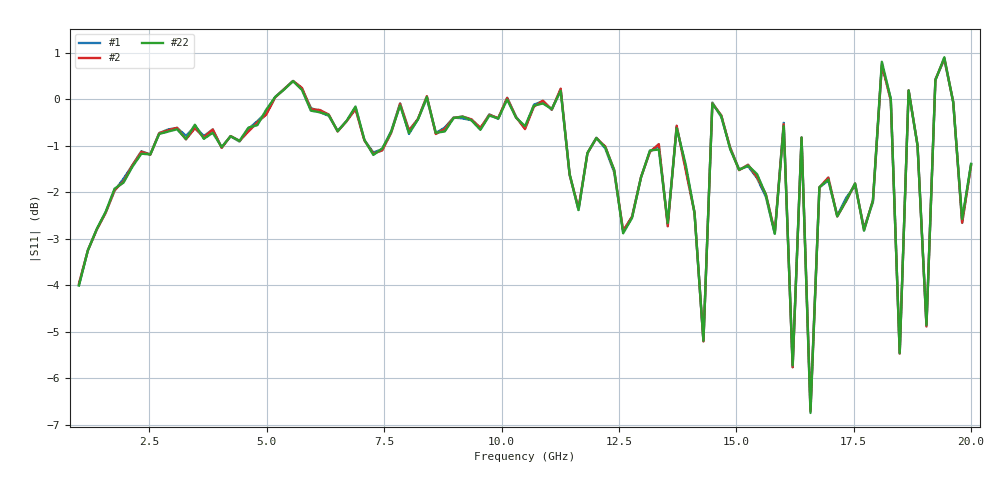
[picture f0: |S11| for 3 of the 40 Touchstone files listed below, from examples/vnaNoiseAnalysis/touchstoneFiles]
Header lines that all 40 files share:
# GHz S RI R 50
!freq	ReS11	ImS11
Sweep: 1 GHz to 20 GHz
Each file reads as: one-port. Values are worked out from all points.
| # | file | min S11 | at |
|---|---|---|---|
| 1 | 2010-12-01 15-48-28.489000.s1p | -6.6 dB | 16.58 GHz |
| 2 | 2010-12-01 15-48-30.132000.s1p | -6.7 dB | 16.58 GHz |
| 3 | 2010-12-01 15-48-31.804000.s1p | -6.6 dB | 16.58 GHz |
| 4 | 2010-12-01 15-48-33.467000.s1p | -6.7 dB | 16.58 GHz |
| 5 | 2010-12-01 15-48-35.099000.s1p | -6.7 dB | 16.58 GHz |
| 6 | 2010-12-01 15-48-36.711000.s1p | -6.7 dB | 16.58 GHz |
| 7 | 2010-12-01 15-48-38.344000.s1p | -6.7 dB | 16.58 GHz |
| 8 | 2010-12-01 15-48-39.986000.s1p | -6.7 dB | 16.58 GHz |
| 9 | 2010-12-01 15-48-41.628000.s1p | -6.7 dB | 16.58 GHz |
| 10 | 2010-12-01 15-48-43.261000.s1p | -6.7 dB | 16.58 GHz |
| 11 | 2010-12-01 15-48-44.873000.s1p | -6.6 dB | 16.58 GHz |
| 12 | 2010-12-01 15-48-46.475000.s1p | -6.7 dB | 16.58 GHz |
| 13 | 2010-12-01 15-48-48.108000.s1p | -6.7 dB | 16.58 GHz |
| 14 | 2010-12-01 15-48-49.730000.s1p | -6.7 dB | 16.58 GHz |
| 15 | 2010-12-01 15-48-51.382000.s1p | -6.7 dB | 16.58 GHz |
| 16 | 2010-12-01 15-48-53.005000.s1p | -6.7 dB | 16.58 GHz |
| 17 | 2010-12-01 15-48-54.627000.s1p | -6.7 dB | 16.58 GHz |
| 18 | 2010-12-01 15-48-56.259000.s1p | -6.7 dB | 16.58 GHz |
| 19 | 2010-12-01 15-48-57.902000.s1p | -6.7 dB | 16.58 GHz |
| 20 | 2010-12-01 15-48-59.534000.s1p | -6.6 dB | 16.58 GHz |
| 21 | 2010-12-01 15-49-01.156000.s1p | -6.7 dB | 16.58 GHz |
| 22 | 2010-12-01 15-49-02.809000.s1p | -6.8 dB | 16.58 GHz |
| 23 | 2010-12-01 15-49-04.431000.s1p | -6.6 dB | 16.58 GHz |
| 24 | 2010-12-01 15-49-06.043000.s1p | -6.7 dB | 16.58 GHz |
| 25 | 2010-12-01 15-49-07.686000.s1p | -6.7 dB | 16.58 GHz |
| 26 | 2010-12-01 15-49-09.298000.s1p | -6.7 dB | 16.58 GHz |
| 27 | 2010-12-01 15-49-10.930000.s1p | -6.7 dB | 16.58 GHz |
| 28 | 2010-12-01 15-49-12.553000.s1p | -6.7 dB | 16.58 GHz |
| 29 | 2010-12-01 15-49-14.175000.s1p | -6.7 dB | 16.58 GHz |
| 30 | 2010-12-01 15-49-15.797000.s1p | -6.7 dB | 16.58 GHz |
| 31 | 2010-12-01 15-49-17.420000.s1p | -6.6 dB | 16.58 GHz |
| 32 | 2010-12-01 15-49-19.052000.s1p | -6.7 dB | 16.58 GHz |
| 33 | 2010-12-01 15-49-20.664000.s1p | -6.7 dB | 16.58 GHz |
| 34 | 2010-12-01 15-49-22.287000.s1p | -6.7 dB | 16.58 GHz |
| 35 | 2010-12-01 15-49-23.909000.s1p | -6.7 dB | 16.58 GHz |
| 36 | 2010-12-01 15-49-25.551000.s1p | -6.7 dB | 16.58 GHz |
| 37 | 2010-12-01 15-49-27.164000.s1p | -6.7 dB | 16.58 GHz |
| 38 | 2010-12-01 15-49-28.806000.s1p | -6.7 dB | 16.58 GHz |
| 39 | 2010-12-01 15-49-30.408000.s1p | -6.7 dB | 16.58 GHz |
| 40 | 2010-12-01 15-49-32.041000.s1p | -6.7 dB | 16.58 GHz |
